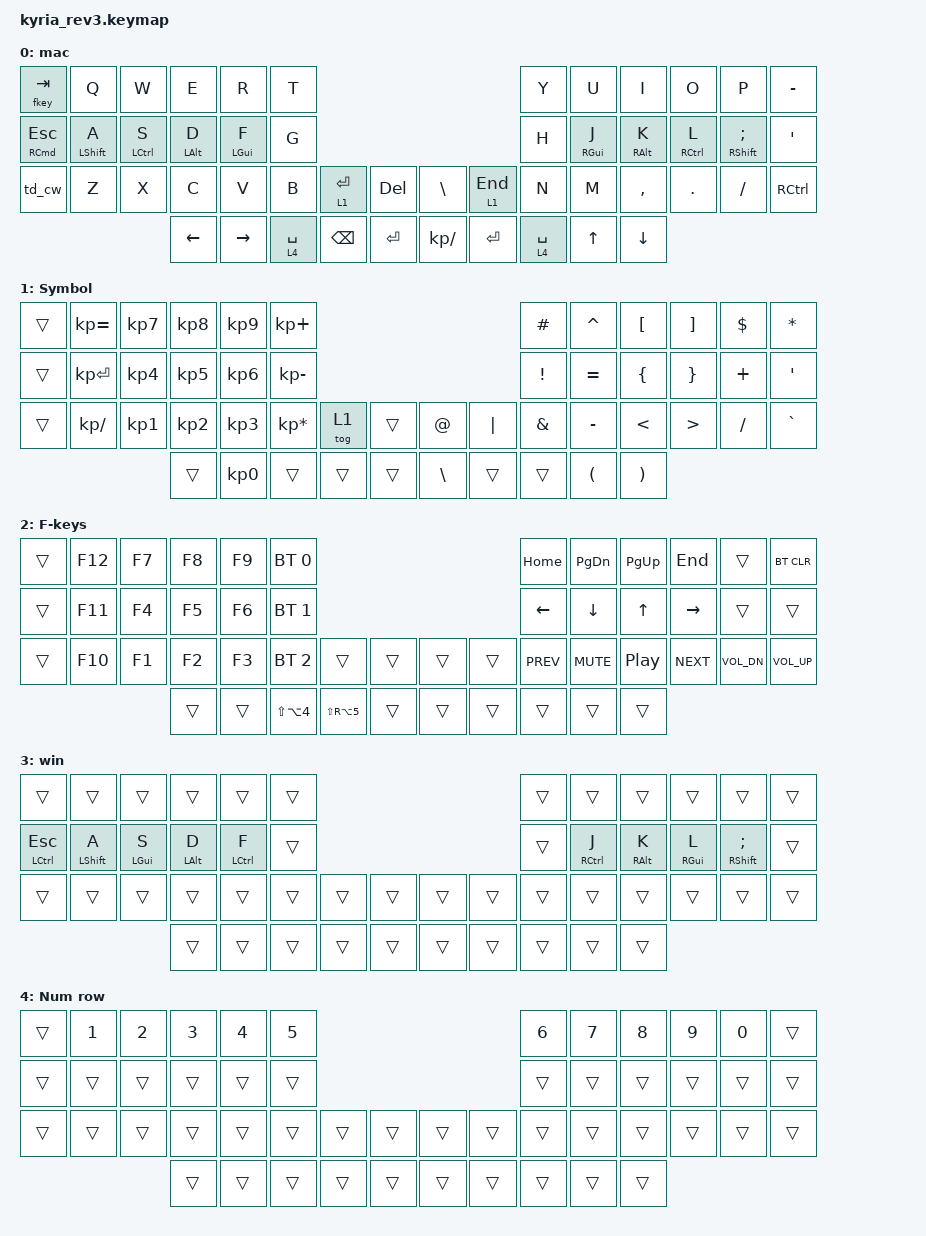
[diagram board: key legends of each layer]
/*
 * Copyright (c) 2023 The ZMK Contributors
 *
 * SPDX-License-Identifier: MIT
 */

#include <behaviors.dtsi>
#include <dt-bindings/zmk/bt.h>
#include <dt-bindings/zmk/keys.h>

#define mac 0
#define symb 1
#define fkey 2
#define win 3
#define nrow 4

/ {
    behaviors {
        hm: homerow_mods {
            compatible = "zmk,behavior-hold-tap";
            label = "HOMEROW_MODS";
            #binding-cells = <2>;
            tapping-term-ms = <200>;
            quick-tap-ms = <0>;
            flavor = "tap-preferred";
            bindings = <&kp>, <&kp>;
        };

        // Define caps WORD behaviour

        cw: cw {
            compatible = "zmk,behavior-caps-word";
            label = "CW";
            #binding-cells = <0>;
            continue-list = <UNDERSCORE MINUS>;
        };

        // Caps WORD and sticky shift tap dance

        td_cw: td_cw {
            compatible = "zmk,behavior-tap-dance";
            label = "TD_CW";
            #binding-cells = <0>;
            bindings = <&sk LSHFT>, <&caps_word>;
        };
    };

    combos {
        compatible = "zmk,combos";

        /**
         * The following combos are defined for mac and windows.:
         * - undo (ctrl+z)
         * - redo (ctrl+shift+z)
         * - cut (ctrl+x)
         * - copy (ctrl+c)
         * - paste (ctrl+v)
         */

        mac_undo {
            bindings = <&kp LG(Z)>;
            key-positions = <25 26>;
            layers = <0>;
        };

        mac_redo {
            bindings = <&kp LS(LG(Z))>;
            key-positions = <24 25>;
            layers = <0>;
        };

        mac_cut {
            bindings = <&kp LG(X)>;
            key-positions = <26 27>;
            layers = <0>;
        };

        mac_copy {
            bindings = <&kp LG(C)>;
            key-positions = <27 28>;
            layers = <0>;
        };

        mac_paste {
            bindings = <&kp LG(V)>;
            key-positions = <28 29>;
            layers = <0>;
        };

        win_undo {
            bindings = <&kp LC(Z)>;
            key-positions = <25 26>;
            layers = <3>;
        };

        win_redo {
            bindings = <&kp LS(LC(Z))>;
            key-positions = <24 25>;
            layers = <3>;
        };

        win_cut {
            bindings = <&kp LC(X)>;
            key-positions = <26 27>;
            layers = <0>;
        };

        win_copy {
            bindings = <&kp LC(C)>;
            key-positions = <27 28>;
            layers = <3>;
        };

        win_paste {
            bindings = <&kp LC(V)>;
            key-positions = <28 29>;
            layers = <3>;
        };
    };

    keymap {
        compatible = "zmk,keymap";

        mac {
            bindings = <
&lt fkey TAB     &kp Q         &kp W        &kp E       &kp R       &kp T                                                             &kp Y        &kp U       &kp I       &kp O        &kp P            &kp MINUS
&mt RCMD ESCAPE  &hm LSHIFT A  &hm LCTRL S  &hm LALT D  &hm LGUI F  &kp G                                                             &kp H        &hm RGUI J  &hm RALT K  &hm RCTRL L  &hm RSHIFT SEMI  &kp APOS
&td_cw           &kp Z         &kp X        &kp C       &kp V       &kp B        &lt 1 RETURN  &kp DELETE  &kp BSLH       &lt 1 END   &kp N        &kp M       &kp COMMA   &kp DOT      &kp FSLH         &kp RCTRL
                                            &kp LEFT    &kp RIGHT   &lt 4 SPACE  &kp BSPC      &kp RETURN  &kp KP_DIVIDE  &kp RETURN  &lt 4 SPACE  &kp UP      &kp DOWN
            >;
        };

        symb {
            bindings = <
&trans  &kp KP_EQUAL   &kp KP_N7  &kp KP_N8  &kp KP_N9  &kp KP_PLUS                                          &kp HASH  &kp CARET             &kp LEFT_BRACKET       &kp RIGHT_BRACKET  &kp DOLLAR  &kp STAR
&trans  &kp KP_ENTER   &kp KP_N4  &kp KP_N5  &kp KP_N6  &kp KP_MINUS                                         &kp EXCL  &kp EQUAL             &kp LEFT_BRACE         &kp RIGHT_BRACE    &kp PLUS    &kp APOS
&trans  &kp KP_DIVIDE  &kp KP_N1  &kp KP_N2  &kp KP_N3  &kp KP_ASTERISK  &tog 1  &trans  &kp AT    &kp PIPE  &kp AMPS  &kp MINUS             &kp LESS_THAN          &kp GREATER_THAN   &kp SLASH   &kp GRAVE
                                  &trans     &kp KP_N0  &trans           &trans  &trans  &kp BSLH  &trans    &trans    &kp LEFT_PARENTHESIS  &kp RIGHT_PARENTHESIS
            >;

            label = "Symbol";
        };

        fkey {
            bindings = <
&trans  &kp F12  &kp F7  &kp F8  &kp F9  &bt BT_SEL 0                                            &kp HOME    &kp PG_DN   &kp PG_UP         &kp END     &trans        &bt BT_CLR
&trans  &kp F11  &kp F4  &kp F5  &kp F6  &bt BT_SEL 1                                            &kp LEFT    &kp DOWN    &kp UP            &kp RIGHT   &trans        &trans
&trans  &kp F10  &kp F1  &kp F2  &kp F3  &bt BT_SEL 2    &trans          &trans  &trans  &trans  &kp C_PREV  &kp C_MUTE  &kp C_PLAY_PAUSE  &kp C_NEXT  &kp C_VOL_DN  &kp C_VOL_UP
                         &trans  &trans  &kp LS(LA(N4))  &kp LS(RA(N5))  &trans  &trans  &trans  &trans      &trans      &trans
            >;

            label = "F-keys";
        };

        win {
            bindings = <
&trans            &trans        &trans      &trans      &trans       &trans                                  &trans  &trans       &trans      &trans      &trans           &trans
&mt LCTRL ESCAPE  &hm LSHIFT A  &hm LGUI S  &hm LALT D  &hm LCTRL F  &trans                                  &trans  &hm RCTRL J  &hm RALT K  &hm RGUI L  &hm RSHIFT SEMI  &trans
&trans            &trans        &trans      &trans      &trans       &trans  &trans  &trans  &trans  &trans  &trans  &trans       &trans      &trans      &trans           &trans
                                            &trans      &trans       &trans  &trans  &trans  &trans  &trans  &trans  &trans       &trans
            >;
        };

        nrow {
            bindings = <
&trans  &kp N1  &kp N2  &kp N3  &kp N4  &kp N5                                  &kp N6  &kp N7  &kp N8  &kp N9  &kp N0  &trans
&trans  &trans  &trans  &trans  &trans  &trans                                  &trans  &trans  &trans  &trans  &trans  &trans
&trans  &trans  &trans  &trans  &trans  &trans  &trans  &trans  &trans  &trans  &trans  &trans  &trans  &trans  &trans  &trans
                        &trans  &trans  &trans  &trans  &trans  &trans  &trans  &trans  &trans  &trans
            >;

            label = "Num row";
        };
    };
};
